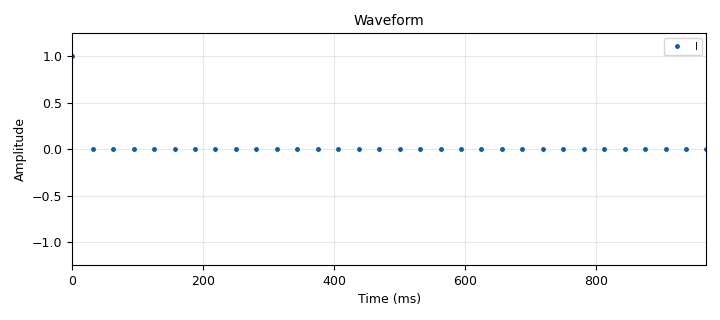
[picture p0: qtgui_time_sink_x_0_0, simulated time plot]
options:
  parameters:
    author: Qasim Chaudhari
    generate_options: qt_gui
    id: time_shift_effect
    output_language: python
    title: Time Shift Effect
  states: {}

blocks:
- name: delay
  id: variable_qtgui_range
  parameters:
    gui_hint: 0,0,1,2
    label: Delay
    orient: Qt.Horizontal
    rangeType: int
    start: '0'
    step: '1'
    stop: int(nfft/2)
    value: '0'
  states: {}
- name: nfft
  id: variable
  parameters:
    value: samp_rate
  states: {}
- name: samp_rate
  id: variable
  parameters:
    value: '32'
  states: {}
- name: analog_sig_source_x_0
  id: analog_sig_source_x
  parameters:
    amp: '1'
    freq: '1'
    offset: '0'
    phase: '0'
    samp_rate: samp_rate
    type: float
    waveform: analog.GR_COS_WAVE
  states: {state: disabled}
- name: blocks_delay_0
  id: blocks_delay
  parameters:
    delay: delay
    type: int
  states: {}
- name: blocks_float_to_complex_0
  id: blocks_float_to_complex
  parameters: {}
  states: {}
- name: blocks_stream_to_vector_0
  id: blocks_stream_to_vector
  parameters:
    num_items: nfft
    type: complex
  states: {}
- name: blocks_throttle_0
  id: blocks_throttle
  parameters:
    samples_per_second: '32000'
    type: float
  states: {}
- name: blocks_vector_source_x_0
  id: blocks_vector_source_x
  parameters:
    repeat: 'True'
    type: float
    vector: np.hstack((1,np.zeros(nfft-1)))
  states: {}
- name: blocks_vector_to_stream_0
  id: blocks_vector_to_stream
  parameters:
    num_items: nfft
    type: complex
  states: {}
- name: fft_vxx_0
  id: fft_vxx
  parameters:
    fft_size: nfft
    forward: 'True'
    shift: 'True'
    type: complex
    window: window.rectangular(nfft)
  states: {}
- name: import_0
  id: import
  parameters:
    imports: "\n\nfrom math import pi; import numpy as np"
  states: {}
- name: qtgui_time_sink_x_0
  id: qtgui_time_sink_x
  parameters:
    grid: 'True'
    gui_hint: 1,1,2,1
    label1: I
    label2: Q
    marker1: '0'
    marker2: '1'
    name: Spectrum
    size: nfft
    srate: samp_rate
    stemplot: 'True'
    type: complex
    update_time: '0.1'
    ymax: '1.25'
    ymin: '-1.25'
  states: {}
- name: qtgui_time_sink_x_0_0
  id: qtgui_time_sink_x
  parameters:
    entags: 'False'
    grid: 'True'
    gui_hint: 1,0,2,1
    label1: I
    marker1: '0'
    name: Waveform
    size: nfft
    srate: samp_rate
    stemplot: 'True'
    type: float
    update_time: '0.1'
    ymax: '1.25'
    ymin: '-1.25'
  states: {}

connections:
- [analog_sig_source_x_0, '0', blocks_throttle_0, '0']
- [blocks_delay_0, '0', blocks_float_to_complex_0, '0']
- [blocks_delay_0, '0', qtgui_time_sink_x_0_0, '0']
- [blocks_float_to_complex_0, '0', blocks_stream_to_vector_0, '0']
- [blocks_stream_to_vector_0, '0', fft_vxx_0, '0']
- [blocks_throttle_0, '0', blocks_delay_0, '0']
- [blocks_vector_source_x_0, '0', blocks_throttle_0, '0']
- [blocks_vector_to_stream_0, '0', qtgui_time_sink_x_0, '0']
- [fft_vxx_0, '0', blocks_vector_to_stream_0, '0']

metadata:
  file_format: 1
